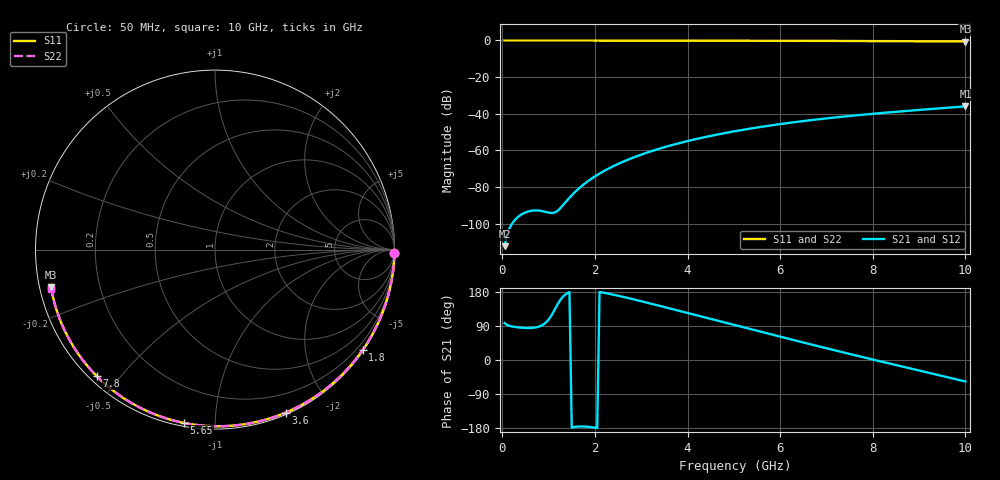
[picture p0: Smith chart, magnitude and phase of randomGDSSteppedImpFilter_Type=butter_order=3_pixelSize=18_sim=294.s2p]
! freq	dB(S11)	phase(S11)	dB(S12)	phase(S12)
!  dB(S21)	phase(S21)	dB(S22)	phase(S22)
!S-par simulation data
#  GHz  S  DB  R 50
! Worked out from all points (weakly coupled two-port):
!   200 points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, 50 MHz to 10 GHz, reference 50 ohm
!   highest |S21| = -35.98 dB at 10 GHz (marker M1); lowest = -112.3 dB at 50 MHz (marker M2)
!   lowest |S11| = -0.6 dB at 10 GHz (marker M3), VSWR 30.33, Z = 1.67 - j5.62 ohm
!   |S11| at or under -10 dB: nowhere
!   |S22| runs from -0.5 to 0.0 dB; largest |S21 - S12| = 0
!   S11 on the Smith chart (normalised r, x): 50 MHz: open; 1.8 GHz: 0.03, -3.24; 3.6 GHz: 0.02, -1.52; 5.65 GHz: 0.02, -0.84; 7.8 GHz: 0.02, -0.43; 10 GHz: 0.03, -0.11
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0.05  -0.00 -1.0  -112.29 97.5  -112.29 97.5  -0.00 -1.0
0.45  -0.01 -8.7  -94.47 84.7  -94.47 84.7  -0.01 -8.6
0.85  -0.02 -16.4  -93.08 91.2  -93.08 91.2  -0.02 -16.2
1.65  -0.04 -31.5  -80.86 -175.6  -80.86 -175.6  -0.04 -31.2
1.7  -0.04 -32.4  -79.76 -175.4  -79.76 -175.4  -0.04 -32.1
1.75  -0.04 -33.3  -78.72 -175.5  -78.72 -175.5  -0.04 -33.1
1.8  -0.04 -34.3  -77.74 -175.8  -77.74 -175.8  -0.04 -34.0
2.1  -0.05 -39.8  -72.65 179.5  -72.65 179.5  -0.05 -39.5
2.3  -0.06 -43.5  -69.86 174.9  -69.86 174.9  -0.06 -43.1
2.5  -0.06 -47.1  -67.40 169.6  -67.40 169.6  -0.06 -46.7
2.9  -0.07 -54.3  -63.23 158.1  -63.23 158.1  -0.07 -53.9
3.4  -0.08 -63.1  -59.01 142.8  -59.01 142.8  -0.08 -62.6
3.6  -0.09 -66.5  -57.55 136.6  -57.55 136.6  -0.09 -66.1
4.3  -0.11 -78.4  -53.17 114.6  -53.17 114.6  -0.11 -77.9
5.05  -0.14 -90.7  -49.43 91.0  -49.43 91.0  -0.14 -90.2
5.65  -0.17 -100.2  -46.94 72.3  -46.94 72.3  -0.17 -99.7
6.15  -0.19 -108.0  -45.14 56.9  -45.14 56.9  -0.19 -107.5
6.7  -0.23 -116.4  -43.39 40.0  -43.39 40.0  -0.23 -116.0
7.8  -0.31 -133.0  -40.49 7.1  -40.49 7.1  -0.31 -132.7
8.35  -0.36 -141.2  -39.26 -9.0  -39.26 -9.0  -0.36 -141.0
9.2  -0.45 -154.3  -37.52 -33.5  -37.52 -33.5  -0.45 -154.0
10  -0.57 -167.2  -35.98 -56.7  -35.98 -56.7  -0.55 -166.5
